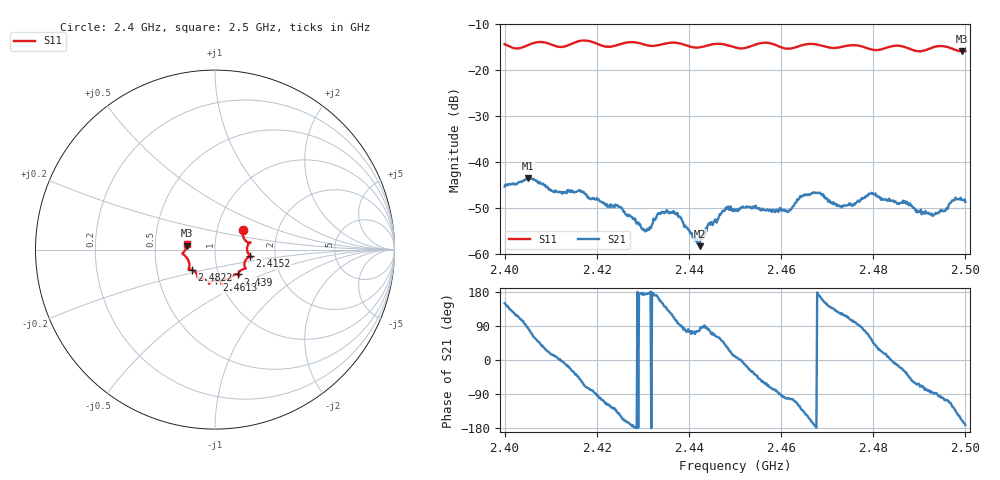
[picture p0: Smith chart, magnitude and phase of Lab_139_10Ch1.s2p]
# Hz S RI R 50
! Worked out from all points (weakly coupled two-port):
!   601 points, 2.4 GHz to 2.5 GHz, reference 50 ohm
!   highest |S21| = -43.45 dB at 2.405 GHz (marker M1); lowest = -58.3 dB at 2.4423 GHz (marker M2)
!   lowest |S11| = -15.9 dB at 2.4993 GHz (marker M3), VSWR 1.38, Z = 36.3 + j1.6 ohm
!   |S11| at or under -10 dB: start of sweep to end of sweep
!   S12 and S22 are empty: the file has one direction only
!   S11 on the Smith chart (normalised r, x): 2.4 GHz: 1.33, +0.31; 2.4152 GHz: 1.48, -0.11; 2.439 GHz: 1.24, -0.36; 2.4613 GHz: 0.96, -0.34; 2.4822 GHz: 0.76, -0.17; 2.5 GHz: 0.73, +0.05
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2.4e9  0.1555 0.1115  -0.00469 0.00273  0 0  0 0
2.405e9  0.1818 0.0405  0.000525 0.0067  0 0  0 0
2.410333e9  0.1858 0.0299  0.00467 0.0012  0 0  0 0
2.415167e9  0.1957 -0.0366  0.00386 -0.00266  0 0  0 0
2.416667e9  0.2049 -0.0428  0.00261 -0.00396  0 0  0 0
2.425e9  0.1657 -0.096  -0.00265 -0.00188  0 0  0 0
2.430333e9  0.1546 -0.1102  -0.00181 0.000224  0 0  0 0
2.433333e9  0.1317 -0.1323  -0.00266 0.000767  0 0  0 0
2.437e9  0.1353 -0.1458  -0.000791 0.00271  0 0  0 0
2.439e9  0.1283 -0.1386  0.000218 0.00196  0 0  0 0
2.442333e9  0.0959 -0.1487  0.000238 0.0012  0 0  0 0
2.447667e9  0.0842 -0.1707  0.00215 0.00201  0 0  0 0
2.45e9  0.0683 -0.163  0.00295 0.000524  0 0  0 0
2.461333e9  0.00768 -0.1708  -0.000572 -0.00282  0 0  0 0
2.466667e9  -0.033 -0.1899  -0.00435 -0.00127  0 0  0 0
2.472667e9  -0.0736 -0.161  -0.00184 0.00275  0 0  0 0
2.4795e9  -0.1036 -0.1325  0.00252 0.00381  0 0  0 0
2.482167e9  -0.1284 -0.1119  0.00374 0.00127  0 0  0 0
2.483333e9  -0.1398 -0.1104  0.00388 0.000523  0 0  0 0
2.492833e9  -0.1736 -0.0281  0.000178 -0.0026  0 0  0 0
2.499333e9  -0.1583 0.0215  -0.00364 -0.00132  0 0  0 0
2.5e9  -0.1577 0.0334  -0.00364 -0.000544  0 0  0 0
